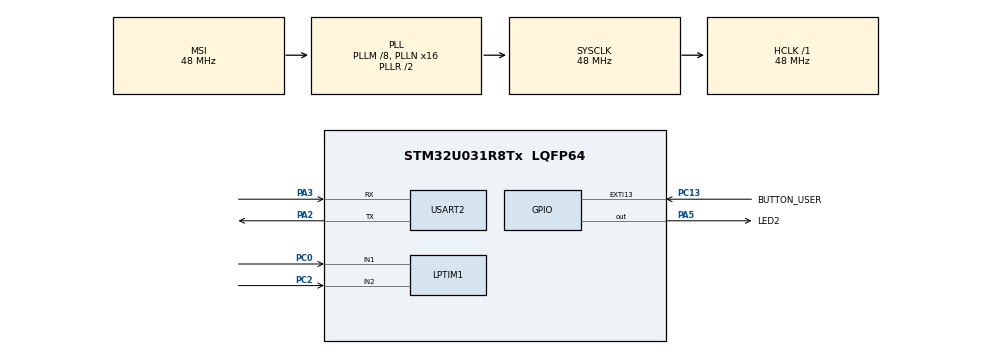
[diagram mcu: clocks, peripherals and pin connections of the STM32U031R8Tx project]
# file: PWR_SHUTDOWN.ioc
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Mcu.Family=STM32U0
Mcu.Name=STM32U031R8Tx
Mcu.Package=LQFP64
NVIC.EXTI4_15_IRQn=true\:0\:0\:false\:false\:true\:true\:true\:true
NVIC.PriorityGroup=NVIC_PRIORITYGROUP_2
NVIC.TIM6_DAC_LPTIM1_IRQn=true\:0\:0\:false\:false\:true\:true\:true\:true
PA2.Mode=Asynchronous
PA2.Signal=USART2_TX
PA3.Mode=Asynchronous
PA3.Signal=USART2_RX
PA5.GPIO_Label=LED2
PA5.Signal=GPIO_Output
PC0.Mode=Encoder_mode_occur1
PC0.Signal=LPTIM1_IN1
PC13.GPIO_Label=BUTTON_USER
PC13.GPIO_ModeDefaultEXTI=GPIO_MODE_IT_FALLING
PC13.GPIO_PuPd=GPIO_PULLUP
PC13.Signal=GPXTI13
PC2.Mode=Encoder_mode_occur1
PC2.Signal=LPTIM1_IN2
ProjectManager.HeapSize=0x200
ProjectManager.StackSize=0x400
ProjectManager.TargetToolchain=STM32CubeIDE
RCC.ADCFreq_Value=48000000
RCC.AHBFreq_Value=48000000
RCC.CortexFreq_Value=48000000
RCC.HCLKFreq_Value=48000000
RCC.HSE_VALUE=4000000
RCC.HSI48_VALUE=48000000
RCC.HSI_VALUE=16000000
RCC.LPTIM1CLockSelection=RCC_LPTIM1CLKSOURCE_LSI
RCC.LSE_VALUE=32768
RCC.MSIClockRangeVal=RCC_MSIRANGE_11
RCC.MSI_VALUE=48000000
RCC.PLLM=RCC_PLLM_DIV8
RCC.PLLN=16
RCC.PLLSourceVirtual=RCC_PLLSOURCE_MSI
RCC.PWR_Regulator_Voltage_Scale=PWR_REGULATOR_VOLTAGE_SCALE1
RCC.SYSCLKFreq_VALUE=48000000
RCC.SYSCLKSource=RCC_SYSCLKSOURCE_PLLCLK
RCC.USBFreq_Value=48000000
RCC.VCOOutputFreq_Value=96000000
USART2.VirtualMode-Asynchronous=VM_ASYNC
VP_PWR_VS_SECSignals.Mode=Security/Privilege
VP_RTC_VS_RTC_Activate.Mode=RTC_Enabled
board=NUCLEO-U031R8

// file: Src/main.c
/* USER CODE BEGIN Header */
/**
  ******************************************************************************
  * @file    main.c
  * @author  MCD Application Team
  * @brief   Main application file for the PWR_STOP1 example.
  * This file has been adapted to integrate the TRACSENS module.
  ******************************************************************************
  * @attention
  *
  * Copyright (c) 2023 STMicroelectronics.
  * All rights reserved.
  *
  * This software is licensed under terms that can be found in the LICENSE file
  * in the root directory of this software component.
  * If no LICENSE file comes with this software, it is provided AS-IS.
  *
  ******************************************************************************
  */
/* USER CODE END Header */
#include "main.h"

/* USER CODE BEGIN Includes */
#include "tracsens.h" // Include the new tracking sensor module
#include "stm32u0xx_nucleo.h"
#include <stdio.h>
#include <string.h>
#include <stdarg.h>
#include <stdbool.h>
/* USER CODE END Includes */

// LPTIM_HandleTypeDef hlptim1;

RTC_HandleTypeDef hrtc;

UART_HandleTypeDef huart2;

/* USER CODE BEGIN PV */
#define LED_TOGGLE_DELAY         100
static __IO uint32_t TimingDelay;
/* USER CODE END PV */

void SystemClock_Config(void);
static void MX_GPIO_Init(void);
static void MX_USART2_UART_Init(void);
// static void MX_LPTIM1_Init(void);
static void MX_RTC_Init(void);
/* USER CODE BEGIN PFP */
static void SYSCLKConfig_STOP(void);
/* USER CODE END PFP */

int main(void)
{

  /* MCU Configuration--------------------------------------------------------*/

  /* Reset of all peripherals, Initializes the Flash interface and the Systick. */
  HAL_Init();

  /* USER CODE BEGIN Init */
  /* Configure LED4 */
  BSP_LED_Init(LED4);
  /* USER CODE END Init */

  /* Configure the system clock */
  SystemClock_Config();

  /* USER CODE BEGIN SysInit */
  /* User push-button (EXTI_Line13) will be used to wakeup the system from Stop mode */
  BSP_PB_Init(BUTTON_USER, BUTTON_MODE_EXTI);
  /* USER CODE END SysInit */

  /* Initialize all configured peripherals */
  MX_GPIO_Init();
  MX_USART2_UART_Init();
  // MX_LPTIM1_Init();
  MX_RTC_Init();
  /* USER CODE BEGIN 2 */
  /* Enable Power Clock */
  __HAL_RCC_PWR_CLK_ENABLE();

  /* Ensure that MSI is wake-up system clock */
  __HAL_RCC_WAKEUPSTOP_CLK_CONFIG(RCC_STOP_WAKEUPCLOCK_MSI);

  //==========================================================
  // Initialize the tracking sensor module
  if (TRACSENS_Init() != 0)
  {
      Error_Handler();
  }

  // Start the sensor
  TRACSENS_StartCounting();

  UART_Printf("Main program start\r\n");
  TRACSENS_DisplayInfo();
  //==========================================================

  // uint8_t index = 0;
  /* USER CODE END 2 */

  /* Infinite loop */
  while (1)
  {

    /* USER CODE BEGIN 3 */
    // UART_Printf("Loop %d\r\n",index++);
    TRACSENS_DisplayInfo();
    HAL_Delay(2000);

    /* Turn off LED4 */
    BSP_LED_Off(LED4);

    /* Suspend tick */
    HAL_SuspendTick();
    HAL_PWREx_EnterSTOP2Mode(PWR_STOPENTRY_WFI);

    /* ... STOP 2 mode ... */

    /* Re-configure the system clock after wakeup */
    SYSCLKConfig_STOP();
  }
  /* USER CODE END 3 */
}

void SystemClock_Config(void)
{
  RCC_OscInitTypeDef RCC_OscInitStruct = {0};
  RCC_ClkInitTypeDef RCC_ClkInitStruct = {0};

  /** Configure the main internal regulator output voltage
  */
  HAL_PWREx_ControlVoltageScaling(PWR_REGULATOR_VOLTAGE_SCALE1);

  /** Initializes the RCC Oscillators according to the specified parameters
  * in the RCC_OscInitTypeDef structure.
  */
  RCC_OscInitStruct.OscillatorType = RCC_OSCILLATORTYPE_LSI|RCC_OSCILLATORTYPE_MSI;
  RCC_OscInitStruct.LSIState = RCC_LSI_ON;
  RCC_OscInitStruct.MSIState = RCC_MSI_ON;
  RCC_OscInitStruct.MSICalibrationValue = RCC_MSICALIBRATION_DEFAULT;
  RCC_OscInitStruct.MSIClockRange = RCC_MSIRANGE_11;
  RCC_OscInitStruct.PLL.PLLState = RCC_PLL_ON;
  RCC_OscInitStruct.PLL.PLLSource = RCC_PLLSOURCE_MSI;
  RCC_OscInitStruct.PLL.PLLM = RCC_PLLM_DIV8;
  RCC_OscInitStruct.PLL.PLLN = 16;
  RCC_OscInitStruct.PLL.PLLP = RCC_PLLP_DIV2;
  RCC_OscInitStruct.PLL.PLLQ = RCC_PLLQ_DIV2;
  RCC_OscInitStruct.PLL.PLLR = RCC_PLLR_DIV2;
  if (HAL_RCC_OscConfig(&RCC_OscInitStruct) != HAL_OK)
  {
    Error_Handler();
  }

  /** Initializes the CPU, AHB and APB buses clocks
  */
  RCC_ClkInitStruct.ClockType = RCC_CLOCKTYPE_HCLK|RCC_CLOCKTYPE_SYSCLK
                              |RCC_CLOCKTYPE_PCLK1;
  RCC_ClkInitStruct.SYSCLKSource = RCC_SYSCLKSOURCE_PLLCLK;
  RCC_ClkInitStruct.AHBCLKDivider = RCC_SYSCLK_DIV1;
  RCC_ClkInitStruct.APB1CLKDivider = RCC_HCLK_DIV1;

  if (HAL_RCC_ClockConfig(&RCC_ClkInitStruct, FLASH_LATENCY_1) != HAL_OK)
  {
    Error_Handler();
  }
}

// static void MX_LPTIM1_Init(void)
// {

//   /* USER CODE BEGIN LPTIM1_Init 0 */

//   /* USER CODE END LPTIM1_Init 0 */

//   /* USER CODE BEGIN LPTIM1_Init 1 */

//   /* USER CODE END LPTIM1_Init 1 */
//   hlptim1.Instance = LPTIM1;
//   hlptim1.Init.Clock.Source = LPTIM_CLOCKSOURCE_APBCLOCK_LPOSC;
//   hlptim1.Init.Clock.Prescaler = LPTIM_PRESCALER_DIV1;
//   hlptim1.Init.UltraLowPowerClock.Polarity = LPTIM_CLOCKPOLARITY_RISING;
//   hlptim1.Init.UltraLowPowerClock.SampleTime = LPTIM_CLOCKSAMPLETIME_DIRECTTRANSITION;
//   hlptim1.Init.Trigger.Source = LPTIM_TRIGSOURCE_SOFTWARE;
//   hlptim1.Init.Period = 65535;
//   hlptim1.Init.UpdateMode = LPTIM_UPDATE_IMMEDIATE;
//   hlptim1.Init.CounterSource = LPTIM_COUNTERSOURCE_EXTERNAL;
//   hlptim1.Init.Input1Source = LPTIM_INPUT1SOURCE_GPIO;
//   hlptim1.Init.Input2Source = LPTIM_INPUT2SOURCE_GPIO;
//   hlptim1.Init.RepetitionCounter = 0;
//   if (HAL_LPTIM_Init(&hlptim1) != HAL_OK)
//   {
//     Error_Handler();
//   }
//   /* USER CODE BEGIN LPTIM1_Init 2 */

//   /* USER CODE END LPTIM1_Init 2 */

// }

static void MX_RTC_Init(void)
{

  /** Initialize RTC Only
  */
  hrtc.Instance = RTC;
  hrtc.Init.HourFormat = RTC_HOURFORMAT_24;
  hrtc.Init.AsynchPrediv = 127;
  hrtc.Init.SynchPrediv = 255;
  hrtc.Init.OutPut = RTC_OUTPUT_DISABLE;
  hrtc.Init.OutPutRemap = RTC_OUTPUT_REMAP_NONE;
  hrtc.Init.OutPutPolarity = RTC_OUTPUT_POLARITY_HIGH;
  hrtc.Init.OutPutType = RTC_OUTPUT_TYPE_OPENDRAIN;
  hrtc.Init.OutPutPullUp = RTC_OUTPUT_PULLUP_NONE;
  hrtc.Init.BinMode = RTC_BINARY_NONE;
  if (HAL_RTC_Init(&hrtc) != HAL_OK)
  {
    Error_Handler();
  }

}

static void MX_USART2_UART_Init(void)
{

  huart2.Instance = USART2;
  huart2.Init.BaudRate = 115200;
  huart2.Init.WordLength = UART_WORDLENGTH_8B;
  huart2.Init.StopBits = UART_STOPBITS_1;
  huart2.Init.Parity = UART_PARITY_NONE;
  huart2.Init.Mode = UART_MODE_TX_RX;
  huart2.Init.HwFlowCtl = UART_HWCONTROL_NONE;
  huart2.Init.OverSampling = UART_OVERSAMPLING_16;
  huart2.Init.OneBitSampling = UART_ONE_BIT_SAMPLE_DISABLE;
  huart2.Init.ClockPrescaler = UART_PRESCALER_DIV1;
  huart2.AdvancedInit.AdvFeatureInit = UART_ADVFEATURE_NO_INIT;
  if (HAL_UART_Init(&huart2) != HAL_OK)
  {
    Error_Handler();
  }
  if (HAL_UARTEx_SetTxFifoThreshold(&huart2, UART_TXFIFO_THRESHOLD_1_8) != HAL_OK)
  {
    Error_Handler();
  }
  if (HAL_UARTEx_SetRxFifoThreshold(&huart2, UART_RXFIFO_THRESHOLD_1_8) != HAL_OK)
  {
    Error_Handler();
  }
  if (HAL_UARTEx_DisableFifoMode(&huart2) != HAL_OK)
  {
    Error_Handler();
  }

}

static void MX_GPIO_Init(void)
{
  GPIO_InitTypeDef GPIO_InitStruct = {0};

  /* GPIO Ports Clock Enable */
  __HAL_RCC_GPIOC_CLK_ENABLE();
  __HAL_RCC_GPIOA_CLK_ENABLE();

  /*Configure GPIO pin Output Level */
  HAL_GPIO_WritePin(LED2_GPIO_Port, LED2_Pin, GPIO_PIN_RESET);

  /*Configure GPIO pin : BUTTON_USER_Pin */
  GPIO_InitStruct.Pin = BUTTON_USER_Pin;
  GPIO_InitStruct.Mode = GPIO_MODE_IT_FALLING;
  GPIO_InitStruct.Pull = GPIO_PULLUP;
  HAL_GPIO_Init(BUTTON_USER_GPIO_Port, &GPIO_InitStruct);

  /*Configure GPIO pin : LED2_Pin */
  GPIO_InitStruct.Pin = LED2_Pin;
  GPIO_InitStruct.Mode = GPIO_MODE_OUTPUT_PP;
  GPIO_InitStruct.Pull = GPIO_NOPULL;
  GPIO_InitStruct.Speed = GPIO_SPEED_FREQ_LOW;
  HAL_GPIO_Init(LED2_GPIO_Port, &GPIO_InitStruct);

  /* EXTI interrupt init*/
  HAL_NVIC_SetPriority(EXTI4_15_IRQn, 0, 0);
  HAL_NVIC_EnableIRQ(EXTI4_15_IRQn);

}

/* USER CODE BEGIN 4 */

/**
  * @brief  Configures system clock after wake-up from STOP: enable MSI, PLL
  * and select PLL as system clock source.
  */
static void SYSCLKConfig_STOP(void)
{
  RCC_ClkInitTypeDef RCC_ClkInitStruct = {0};
  RCC_OscInitTypeDef RCC_OscInitStruct = {0};
  uint32_t pFLatency = 0;

  /* Enable Power Control clock */
  __HAL_RCC_PWR_CLK_ENABLE();

  /* Get the Oscillators configuration according to the internal RCC registers */
  HAL_RCC_GetOscConfig(&RCC_OscInitStruct);

  RCC_OscInitStruct.OscillatorType = RCC_OSCILLATORTYPE_NONE;
  RCC_OscInitStruct.PLL.PLLState = RCC_PLL_ON;
  if (HAL_RCC_OscConfig(&RCC_OscInitStruct) != HAL_OK)
  {
    Error_Handler();
  }

  /* Get the Clocks configuration according to the internal RCC registers */
  HAL_RCC_GetClockConfig(&RCC_ClkInitStruct, &pFLatency);

  /* Select PLL as system clock source and configure the HCLK, PCLK1 and PCLK2
     clocks dividers */
  RCC_ClkInitStruct.ClockType     = RCC_CLOCKTYPE_SYSCLK;
  RCC_ClkInitStruct.SYSCLKSource  = RCC_SYSCLKSOURCE_PLLCLK;
  if (HAL_RCC_ClockConfig(&RCC_ClkInitStruct, pFLatency) != HAL_OK)
  {
    Error_Handler();
  }
}

/**
  * @brief SYSTICK callback
  */
void HAL_SYSTICK_Callback(void)
{
  if (TimingDelay != 0)
  {
    TimingDelay--;
  }
  else
  {
    /* Toggle LED4 */
    BSP_LED_Toggle(LED4);
    TimingDelay = LED_TOGGLE_DELAY;
  }
}

/**
  * @brief EXTI line detection callbacks
  * @param GPIO_Pin: Specifies the pins connected EXTI line
  * @retval None
  */
void HAL_GPIO_EXTI_Falling_Callback(uint16_t GPIO_Pin)
{
  if (GPIO_Pin == BUTTON_USER_PIN)
  {
    /* Reconfigure LED4 */
    BSP_LED_Init(LED4);
   /* Toggle LED4 */
    BSP_LED_Toggle(LED4);
    TimingDelay = LED_TOGGLE_DELAY;
  }
}

void UART_Printf(char *format, ...)
{
  char str[256];
  va_list args;
  va_start(args, format);
  vsnprintf(str, sizeof(str), format, args);
  va_end(args);

  HAL_UART_Transmit(&huart2, (uint8_t *)str, strlen(str), HAL_MAX_DELAY);
}

/* USER CODE END 4 */

void Error_Handler(void)
{
  /* USER CODE BEGIN Error_Handler_Debug */
  /* User can add his own implementation to report the HAL error return state */
  /* Turn LED4 on */
  BSP_LED_On(LED4);
  while (1)
  {
  }
  /* USER CODE END Error_Handler_Debug */
}
